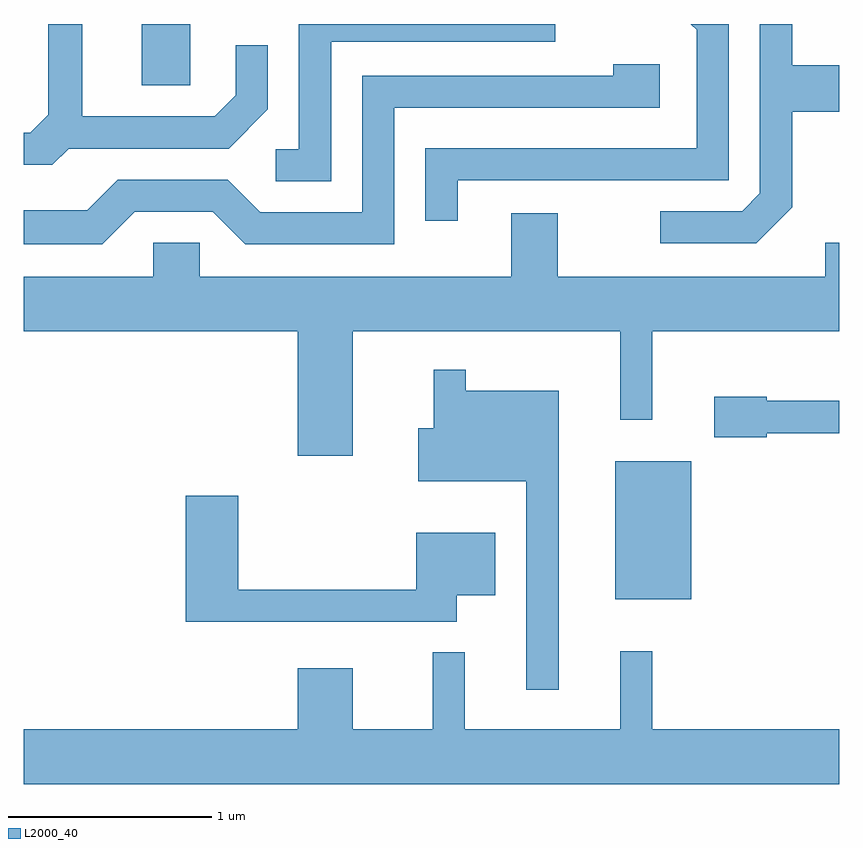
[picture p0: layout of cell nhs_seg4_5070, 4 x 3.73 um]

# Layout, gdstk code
import gdstk
lib = gdstk.Library(unit=1e-6, precision=1e-09)
def R(c, l, rs):  # rectangles x0, y0, x1, y1
    for r in rs: c.add(gdstk.rectangle(r[:2], r[2:], *l))
def P(c, l, *ps):  # polygons
    for p in ps: c.add(gdstk.Polygon(p, *l))
L2000_40 = (2000, 40)

nhs_seg4_5070 = lib.new_cell('nhs_seg4_5070')
R(nhs_seg4_5070, L2000_40, [(336.511,1331.161,336.884,1331.839), (334.191,1333.681,334.429,1333.982)])
P(nhs_seg4_5070, L2000_40, [(333.832,1333.371),(334.617,1333.371),(334.809,1333.564),(334.809,1333.878),(334.651,1333.878),(334.651,1333.632),(334.549,1333.529),(333.899,1333.529),(333.899,1333.982),(333.731,1333.982),(333.731,1333.537),(333.644,1333.449),(333.611,1333.449),(333.611,1333.291),(333.752,1333.291)],
  [(335.119,1333.896),(336.218,1333.896),(336.218,1333.982),(334.961,1333.982),(334.961,1333.369),(334.848,1333.369),(334.848,1333.211),(335.119,1333.211)],
  [(337.379,1333.084),(337.379,1333.551),(337.611,1333.551),(337.611,1333.779),(337.379,1333.779),(337.379,1333.982),(337.221,1333.982),(337.221,1333.152),(337.134,1333.064),(336.733,1333.064),(336.733,1332.906),(337.202,1332.906)],
  [(335.739,1333.216),(337.069,1333.216),(337.069,1333.982),(336.883,1333.982),(336.911,1333.954),(336.911,1333.374),(335.581,1333.374),(335.581,1333.018),(335.739,1333.018)],
  [(334.157,1333.061),(334.539,1333.061),(334.699,1332.901),(335.429,1332.901),(335.429,1333.571),(336.729,1333.571),(336.729,1333.784),(336.501,1333.784),(336.501,1333.729),(335.271,1333.729),(335.271,1333.059),(334.772,1333.059),(334.612,1333.219),(334.074,1333.219),(333.924,1333.069),(333.611,1333.069),(333.611,1332.901),(333.997,1332.901)],
  [(335.224,1332.476),(336.536,1332.476),(336.536,1332.043),(336.694,1332.043),(336.694,1332.476),(337.611,1332.476),(337.611,1332.909),(337.541,1332.909),(337.541,1332.744),(336.229,1332.744),(336.229,1333.054),(336.001,1333.054),(336.001,1332.744),(334.474,1332.744),(334.474,1332.909),(334.246,1332.909),(334.246,1332.744),(333.611,1332.744),(333.611,1332.476),(334.956,1332.476),(334.956,1331.866),(335.224,1331.866)],
  [(336.234,1332.184),(335.779,1332.184),(335.779,1332.288),(335.621,1332.288),(335.621,1331.999),(335.546,1331.999),(335.546,1331.741),(336.076,1331.741),(336.076,1330.718),(336.234,1330.718)],
  [(337.254,1331.976),(337.611,1331.976),(337.611,1332.134),(337.254,1332.134),(337.254,1332.154),(336.996,1332.154),(336.996,1331.956),(337.254,1331.956)],
  [(335.734,1331.181),(335.924,1331.181),(335.924,1331.489),(335.536,1331.489),(335.536,1331.209),(334.664,1331.209),(334.664,1331.669),(334.406,1331.669),(334.406,1331.051),(335.734,1331.051)],
  [(337.611,1330.524),(336.694,1330.524),(336.694,1330.908),(336.536,1330.908),(336.536,1330.524),(335.774,1330.524),(335.774,1330.903),(335.616,1330.903),(335.616,1330.524),(335.224,1330.524),(335.224,1330.824),(334.956,1330.824),(334.956,1330.524),(333.611,1330.524),(333.611,1330.256),(337.611,1330.256)])

lib.write_gds('nhs_seg4_5070.gds')
